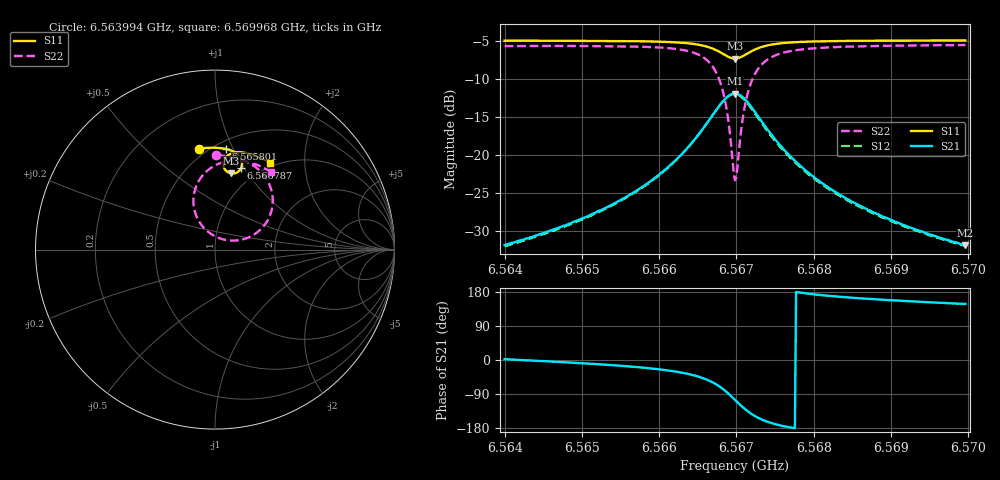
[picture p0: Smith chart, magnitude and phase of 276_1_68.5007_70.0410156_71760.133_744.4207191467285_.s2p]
#  HZ  S  RI  R  50.00
! Rohde & Schwarz Vector Network Analyzer
! Rohde-Schwarz,ZNB20-2Port,1311601062101988,3.16
! Created: UTC 3/20/2024, 5:00:57 PM
! freq[Hz]  re:S11  im:S11  re:S21  im:S21  re:S12  im:S12  re:S22  im:S22
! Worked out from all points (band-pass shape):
!   401 points, 6.563994 GHz to 6.569968 GHz, reference 50 ohm
!   highest |S21| = -11.87 dB at 6.566981 GHz (marker M1); lowest = -31.9 dB at 6.569968 GHz (marker M2)
!   |S21| within 3 dB of the highest: 6.566681 GHz to 6.567279 GHz (597.9 kHz wide, 0.0091 % of centre)
!   lowest |S11| = -7.3 dB at 6.566981 GHz (marker M3), VSWR 2.53, Z = 40.1 + j41.9 ohm
!   |S11| at or under -10 dB: nowhere
!   |S22| runs from -23.3 to -5.5 dB; largest |S21 - S12| = 0.012
!   S11 on the Smith chart (normalised r, x): 6.563994 GHz: 0.45, +0.75; 6.565801 GHz: 0.57, +0.94; 6.566787 GHz: 0.82, +0.97; 6.569968 GHz: 0.95, +1.35
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6.5639942e9  -0.0905 0.5618  0.0255 0.001  0.0251 0.000481  0.00775 0.5245
6.5649948e9  -0.0101 0.568  0.0378 -0.00569  0.037 -0.00622  0.0981 0.5156
6.5658013e9  0.0617 0.5603  0.0589 -0.0219  0.0579 -0.0226  0.1919 0.4817
6.5659955e9  0.0811 0.5548  0.0674 -0.0309  0.0664 -0.0316  0.2211 0.4632
6.5663091e9  0.1151 0.5385  0.0861 -0.0583  0.0847 -0.0594  0.2763 0.4091
6.5665481e9  0.1415 0.5112  0.0997 -0.1055  0.0976 -0.1074  0.3173 0.3178
6.5666825e9  0.1507 0.4837  0.0956 -0.1534  0.0919 -0.1559  0.3172 0.2264
6.566787e9  0.1461 0.4552  0.0703 -0.2023  0.064 -0.2049  0.2741 0.1345
6.5668766e9  0.1267 0.4321  0.02 -0.2401  0.0108 -0.2404  0.1833 0.0661
6.5669513e9  0.0994 0.4236  -0.0414 -0.2504  -0.0516 -0.2469  0.074 0.0516
6.5669812e9  0.0875 0.4247  -0.0672 -0.2459  -0.0771 -0.2405  0.0288 0.0618
6.567011e9  0.0761 0.4287  -0.0918 -0.2363  -0.101 -0.2295  -0.0128 0.0811
6.5670708e9  0.058 0.4431  -0.1315 -0.2056  -0.138 -0.1963  -0.0776 0.1399
6.5671305e9  0.0484 0.4624  -0.1551 -0.167  -0.1583 -0.1571  -0.1119 0.2101
6.5671902e9  0.0467 0.4813  -0.164 -0.1292  -0.1647 -0.1201  -0.1204 0.2768
6.5672649e9  0.0523 0.5014  -0.1614 -0.0901  -0.16 -0.0825  -0.108 0.3442
6.5673844e9  0.0689 0.5226  -0.1442 -0.0476  -0.1417 -0.0425  -0.0673 0.4152
6.5675337e9  0.092 0.5359  -0.1199 -0.019  -0.1173 -0.0158  -0.0135 0.4612
6.5679818e9  0.1483 0.542  -0.0726 0.00785  -0.0709 0.00899  0.0998 0.4958
6.5684149e9  0.1903 0.5341  -0.0503 0.0129  -0.0494 0.0134  0.1664 0.4917
6.5689824e9  0.237 0.5179  -0.035 0.0141  -0.0342 0.0144  0.2287 0.4745
6.5699681e9  0.3075 0.4811  -0.0215 0.0134  -0.021 0.0136  0.3092 0.4337
